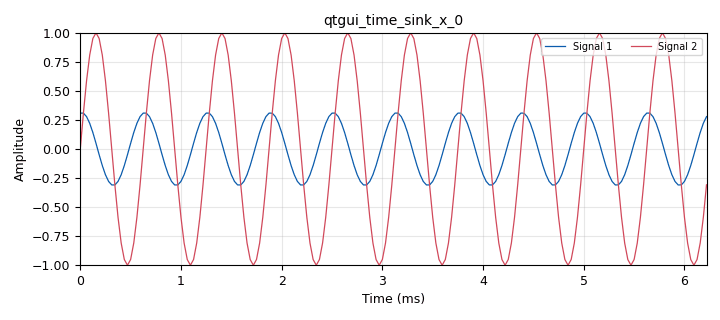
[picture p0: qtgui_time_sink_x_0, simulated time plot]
options:
  parameters:
    generate_options: qt_gui
    id: Diferenciador
    output_language: python
    title: Not titled yet
  states: {}

blocks:
- name: samp_rate
  id: variable
  parameters:
    value: '32000'
  states: {}
- name: analog_sig_source_x_0
  id: analog_sig_source_x
  parameters:
    amp: '1'
    freq: '50'
    offset: '0'
    phase: '0'
    samp_rate: '1000'
    type: float
    waveform: analog.GR_SIN_WAVE
  states: {}
- name: blocks_throttle2_0
  id: blocks_throttle2
  parameters:
    samples_per_second: '1000'
    type: float
  states: {}
- name: epy_block_0
  id: epy_block
  parameters:
    _source_code: |
      import numpy as np
      from gnuradio import gr

      class blk(gr.sync_block):
          """Diferenciador discreto: y[n] = x[n] - x[n-1]"""

          def __init__(self):
              gr.sync_block.__init__(
                  self,
                  name='diferenciador',
                  in_sig=[np.float32],
                  out_sig=[np.float32]
              )
              self.x_prev = np.float32(0.0)

          def work(self, input_items, output_items):
              x = input_items[0]
              y = output_items[0]

              # Diferenciación discreta
              # y[0] usa el valor anterior almacenado
              y[0] = x[0] - self.x_prev

              # Para el resto de muestras:
              y[1:] = x[1:] - x[:-1]

              # Actualiza memoria para la próxima llamada
              self.x_prev = x[-1]

              return len(y)
  states: {}
- name: qtgui_time_sink_x_0
  id: qtgui_time_sink_x
  parameters:
    nconnections: '2'
    size: '200'
    srate: samp_rate
    type: float
  states: {}

connections:
- [analog_sig_source_x_0, '0', blocks_throttle2_0, '0']
- [analog_sig_source_x_0, '0', qtgui_time_sink_x_0, '1']
- [blocks_throttle2_0, '0', epy_block_0, '0']
- [epy_block_0, '0', qtgui_time_sink_x_0, '0']

metadata:
  file_format: 1
  grc_version: 3.10.9.2
